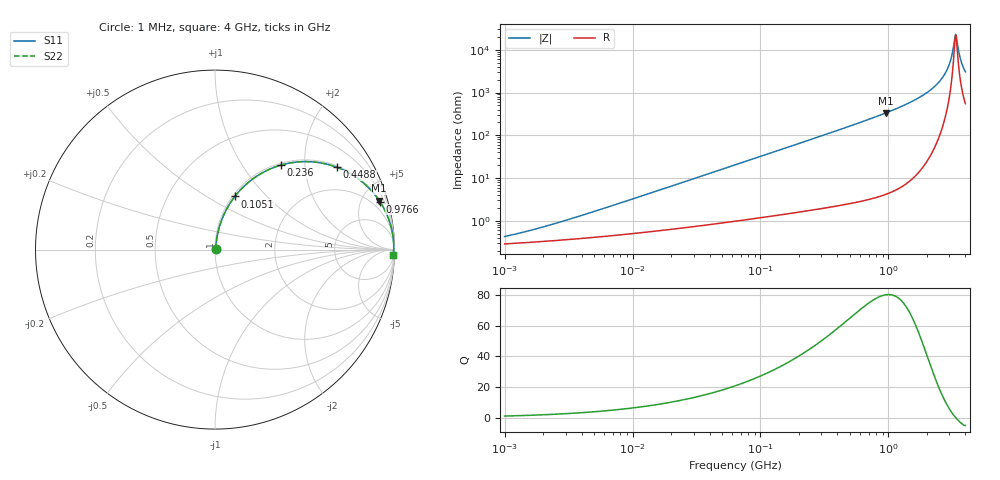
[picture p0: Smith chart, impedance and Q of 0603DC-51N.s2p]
# MHz  S  MA  R  50
!Freq  MagS11  AngS11  MagS21  AngS21  MagS12  AngS12  MagS22  AngS22
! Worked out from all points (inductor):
!   801 points, 1 MHz to 4 GHz, reference 50 ohm
!   read as one part in series: L = 51 nH near 3.543 MHz
!   highest Q = 80 at 956.5 MHz (marker M1), where L = 55.5 nH
!   self-resonance near 3.354 GHz
!   S11 on the Smith chart (normalised r, x): 1 MHz: 1.01, +0.01; 105.1 MHz: 1.02, +0.67; 236 MHz: 1.03, +1.52; 448.8 MHz: 1.05, +2.93; 976.6 MHz: 1.09, +6.84; 4 GHz: 12, -60
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1  0.004303 47.8  0.9971 -0.2  0.9971 -0.2  0.004303 47.8
4.011853  0.01338 72.5  0.9961 -0.7  0.9961 -0.7  0.01338 72.5
15.92896  0.05101 80.6  0.9929 -2.9  0.9929 -2.9  0.05101 80.6
63.90467  0.199 75.8  0.9705 -11.5  0.9705 -11.5  0.199 75.8
105.1129  0.3163 69.5  0.9374 -18.4  0.9374 -18.4  0.3163 69.5
235.9701  0.5986 51.9  0.7876 -36.8  0.7876 -36.8  0.5986 51.9
253.7319  0.6264 50.0  0.7659 -38.8  0.7659 -38.8  0.6264 50.0
448.7626  0.8196 34.0  0.5597 -55.0  0.5597 -55.0  0.8196 34.0
956.5433  0.9546 16.6  0.2862 -72.7  0.2862 -72.7  0.9546 16.6
976.5844  0.9566 16.2  0.2798 -73.0  0.2798 -73.0  0.9566 16.2
1007.436  0.9594 15.7  0.2705 -73.6  0.2705 -73.6  0.9594 15.7
1709.42  0.9886 7.7  0.1338 -81.3  0.1338 -81.3  0.9886 7.7
2406.766  0.9952 3.6  0.06294 -83.8  0.06294 -83.8  0.9952 3.6
2669.682  0.9959 2.5  0.0431 -83.3  0.0431 -83.3  0.9959 2.5
2900.549  0.9961 1.6  0.02762 -81.1  0.02762 -81.1  0.9961 1.6
3086.708  0.996 0.9  0.01628 -75.5  0.01628 -75.5  0.996 0.9
3250.937  0.9958 0.4  0.00749 -56.0  0.00749 -56.0  0.9958 0.4
3353.638  0.9956 0.0  0.004384 -6.5  0.004384 -6.5  0.9956 0.0
3459.584  0.9954 -0.3  0.006959 48.5  0.006959 48.5  0.9954 -0.3
3643.651  0.9949 -0.8  0.01562 70.5  0.01562 70.5  0.9949 -0.8
3758.76  0.9945 -1.2  0.02121 74.5  0.02121 74.5  0.9945 -1.2
4000  0.9936 -1.8  0.03262 77.8  0.03262 77.8  0.9936 -1.8
